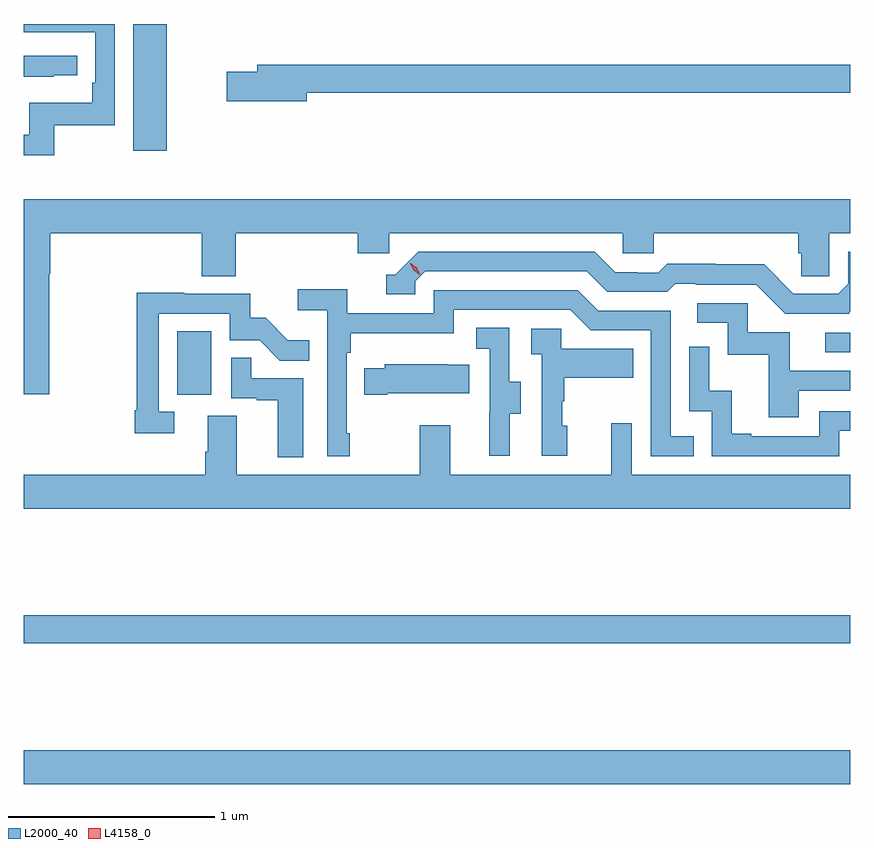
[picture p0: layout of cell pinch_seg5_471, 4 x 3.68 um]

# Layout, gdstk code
import gdstk
lib = gdstk.Library(unit=1e-6, precision=1e-09)
def R(c, l, rs):  # rectangles x0, y0, x1, y1
    for r in rs: c.add(gdstk.rectangle(r[:2], r[2:], *l))
def P(c, l, *ps):  # polygons
    for p in ps: c.add(gdstk.Polygon(p, *l))
L2000_40 = (2000, 40)
L4158_0 = (4158, 0)

pinch_seg5_471 = lib.new_cell('pinch_seg5_471')
R(pinch_seg5_471, L2000_40, [(945.35,834.116,949.35,834.28), (945.35,834.796,949.35,834.932), (946.094,835.998,946.258,836.305), (949.227,836.205,949.35,836.298), (945.881,837.18,946.042,837.792)])
P(pinch_seg5_471, L2000_40, [(945.499,837.303),(945.792,837.303),(945.792,837.792),(945.35,837.792),(945.35,837.752),(945.383,837.752),(945.383,837.753),(945.696,837.753),(945.696,837.508),(945.683,837.508),(945.683,837.412),(945.378,837.412),(945.378,837.257),(945.35,837.257),(945.35,837.156),(945.499,837.156)],
  [(945.497,837.543),(945.61,837.543),(945.61,837.639),(945.35,837.639),(945.35,837.538),(945.497,837.538)],
  [(946.72,837.46),(949.35,837.46),(949.35,837.596),(946.481,837.596),(946.481,837.56),(946.332,837.56),(946.332,837.418),(946.72,837.418)],
  [(945.474,836.584),(945.479,836.584),(945.479,836.78),(946.211,836.78),(946.211,836.572),(946.376,836.572),(946.376,836.78),(946.967,836.78),(946.967,836.682),(947.118,836.682),(947.118,836.78),(948.249,836.78),(948.249,836.682),(948.399,836.682),(948.399,836.78),(949.097,836.78),(949.097,836.682),(949.111,836.682),(949.111,836.572),(949.248,836.572),(949.248,836.78),(949.35,836.78),(949.35,836.944),(945.35,836.944),(945.35,836.001),(945.474,836.001)],
  [(949.35,836.4),(949.35,836.691),(949.338,836.691),(949.338,836.535),(949.29,836.487),(949.074,836.487),(948.932,836.629),(948.696,836.629),(948.696,836.632),(948.463,836.632),(948.421,836.589),(948.318,836.589),(948.318,836.592),(948.211,836.592),(948.112,836.691),(947.259,836.691),(947.148,836.58),(947.105,836.58),(947.105,836.484),(947.244,836.484),(947.244,836.547),(947.292,836.595),(948.075,836.595),(948.174,836.496),(948.463,836.496),(948.502,836.535),(948.601,836.535),(948.601,836.532),(948.894,836.532),(949.035,836.391),(949.341,836.391)],
  [(946.927,835.813),(946.914,835.813),(946.914,836.201),(946.934,836.201),(946.934,836.297),(947.43,836.297),(947.43,836.409),(947.994,836.409),(948.093,836.31),(948.384,836.31),(948.384,835.701),(948.593,835.701),(948.593,835.797),(948.48,835.797),(948.48,836.406),(948.13,836.406),(948.031,836.505),(947.334,836.505),(947.334,836.394),(946.916,836.394),(946.916,836.51),(946.677,836.51),(946.677,836.408),(946.818,836.408),(946.818,835.701),(946.927,835.701)],
  [(946.078,835.917),(946.005,835.917),(946.005,836.391),(946.347,836.391),(946.347,836.262),(946.492,836.262),(946.59,836.164),(946.733,836.164),(946.733,836.263),(946.629,836.263),(946.522,836.37),(946.446,836.37),(946.446,836.487),(946.127,836.487),(946.127,836.492),(945.897,836.492),(945.897,835.924),(945.889,835.924),(945.889,835.812),(946.078,835.812)],
  [(949.099,836.019),(949.35,836.019),(949.35,836.115),(949.057,836.115),(949.057,836.301),(948.852,836.301),(948.852,836.442),(948.609,836.442),(948.609,836.346),(948.756,836.346),(948.756,836.193),(948.955,836.193),(948.955,835.89),(949.099,835.89)],
  [(947.701,835.906),(947.755,835.906),(947.755,836.061),(947.7,836.061),(947.7,836.324),(947.541,836.324),(947.541,836.221),(947.604,836.221),(947.604,835.917),(947.603,835.917),(947.603,835.704),(947.701,835.704)],
  [(947.98,835.848),(947.955,835.848),(947.955,835.967),(947.965,835.967),(947.965,836.081),(948.299,836.081),(948.299,836.221),(947.952,836.221),(947.952,836.319),(947.805,836.319),(947.805,836.195),(947.856,836.195),(947.856,835.704),(947.98,835.704)],
  [(949.296,835.824),(949.35,835.824),(949.35,835.92),(949.2,835.92),(949.2,835.797),(948.871,835.797),(948.871,835.81),(948.776,835.81),(948.776,836.018),(948.666,836.018),(948.666,836.23),(948.57,836.23),(948.57,835.92),(948.678,835.92),(948.678,835.701),(949.296,835.701)],
  [(946.702,836.079),(946.451,836.079),(946.451,836.177),(946.356,836.177),(946.356,835.983),(946.477,835.983),(946.477,835.971),(946.58,835.971),(946.58,835.697),(946.702,835.697)],
  [(947.11,836.006),(947.507,836.006),(947.507,836.143),(947.399,836.143),(947.399,836.146),(947.097,836.146),(947.097,836.128),(946.999,836.128),(946.999,835.999),(947.11,835.999)],
  [(949.35,835.612),(948.291,835.612),(948.291,835.861),(948.194,835.861),(948.194,835.612),(947.413,835.612),(947.413,835.852),(947.266,835.852),(947.266,835.612),(946.381,835.612),(946.381,835.898),(946.241,835.898),(946.241,835.724),(946.229,835.724),(946.229,835.612),(945.35,835.612),(945.35,835.448),(949.35,835.448)])
P(pinch_seg5_471, L4158_0, [(947.267,836.58),(947.237,836.6),(947.221,836.633),(947.221,836.634),(947.222,836.634),(947.252,836.614),(947.267,836.581),(947.267,836.58)])

lib.write_gds('pinch_seg5_471.gds')
